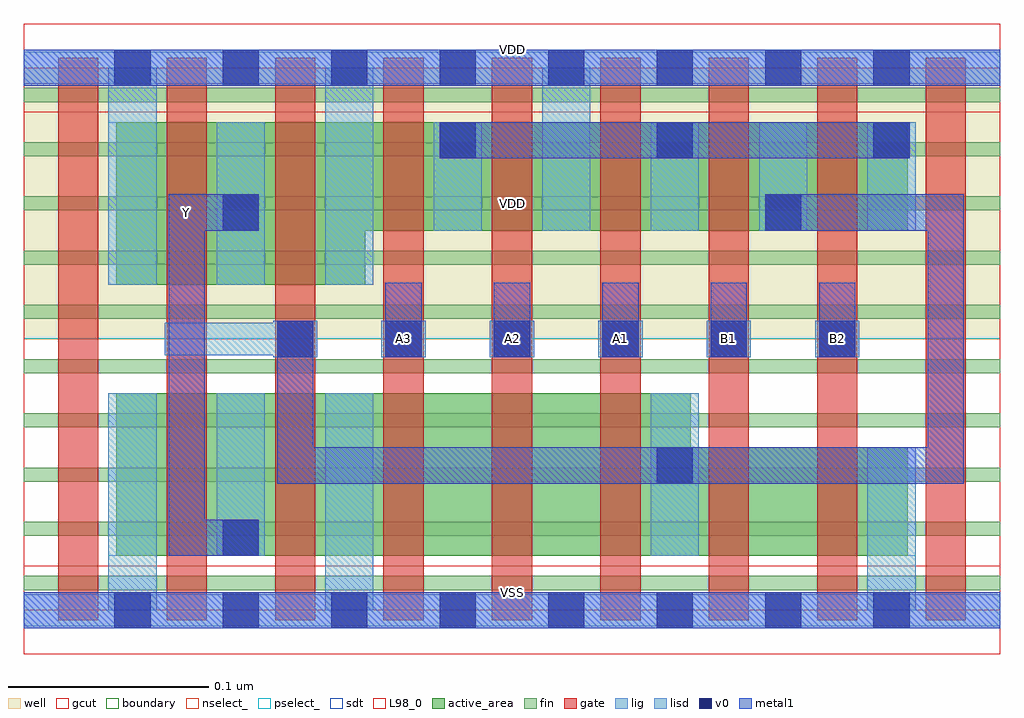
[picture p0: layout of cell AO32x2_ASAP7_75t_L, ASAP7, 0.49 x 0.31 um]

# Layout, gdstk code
import gdstk
lib = gdstk.Library(unit=1e-6, precision=2.5e-10)
def R(c, l, rs):  # rectangles x0, y0, x1, y1
    for r in rs: c.add(gdstk.rectangle(r[:2], r[2:], *l))
def A(c, l, x, y, w, h, nx, ny, dx, dy):  # array of equal rectangles
    R(c, l, [(x+i*dx, y+j*dy, x+i*dx+w, y+j*dy+h) for i in range(nx) for j in range(ny)])
def P(c, l, *ps):  # polygons
    for p in ps: c.add(gdstk.Polygon(p, *l))
well = (1, 0)
fin = (2, 0)
gate = (7, 0)
gcut = (10, 0)
active_area = (11, 0)
nselect_ = (12, 0)
pselect_ = (13, 0)
lig = (16, 0)
lisd = (17, 0)
v0 = (18, 0)
metal1 = (19, 0)
sdt = (88, 0)
L98_0 = (98, 0)
boundary = (100, 0)

ao32x2_asap7_75t_l = lib.new_cell('AO32x2_ASAP7_75t_L')
R(ao32x2_asap7_75t_l, well, [(0,0.135,0.486,0.27)])
A(ao32x2_asap7_75t_l, fin, 0, 0.01, 0.486, 0.007, 1, 10, 0, 0.027)
A(ao32x2_asap7_75t_l, gate, 0.017, -0.005, 0.02, 0.28, 9, 1, 0.054, 0)
R(ao32x2_asap7_75t_l, gcut, [(0,-0.022,0.486,0.022), (0,0.248,0.486,0.292)])
P(ao32x2_asap7_75t_l, active_area, [(0.332,0.108),(0.046,0.108),(0.046,0.027),(0.44,0.027),(0.44,0.081),(0.332,0.081)],
  [(0.44,0.243),(0.046,0.243),(0.046,0.162),(0.17,0.162),(0.17,0.189),(0.44,0.189)])
R(ao32x2_asap7_75t_l, nselect_, [(0,0,0.486,0.135)])
R(ao32x2_asap7_75t_l, pselect_, [(0,0.135,0.486,0.27)])
A(ao32x2_asap7_75t_l, lig, 0.124, 0.126, 0.022, 0.018, 6, 1, 0.054, 0)
R(ao32x2_asap7_75t_l, lig, [(0,-0.008,0.486,0.008), (0.07,0.127,0.146,0.143), (0,0.262,0.486,0.278)])
A(ao32x2_asap7_75t_l, lisd, 0.312, 0.189, 0.024, 0.054, 3, 1, 0.054, 0)
R(ao32x2_asap7_75t_l, lisd, [(0.042,0,0.066,0.108), (0.042,0,0.066,0.108), (0.15,0,0.174,0.108), (0.15,0,0.174,0.108), (0.42,0,0.444,0.081), (0.42,0,0.444,0.081), (0.096,0.027,0.12,0.108), (0.312,0.027,0.336,0.108), (0.042,0.162,0.066,0.27), (0.042,0.162,0.066,0.27), (0.096,0.162,0.12,0.243), (0.15,0.162,0.174,0.27), (0.15,0.162,0.174,0.27), (0.204,0.189,0.228,0.243), (0.258,0.189,0.282,0.27), (0.258,0.189,0.282,0.27)])
A(ao32x2_asap7_75t_l, v0, 0.045, -0.009, 0.018, 0.018, 8, 2, 0.054, 0.27)
A(ao32x2_asap7_75t_l, v0, 0.126, 0.126, 0.018, 0.018, 6, 1, 0.054, 0)
A(ao32x2_asap7_75t_l, v0, 0.207, 0.225, 0.018, 0.018, 3, 1, 0.108, 0)
R(ao32x2_asap7_75t_l, v0, [(0.099,0.027,0.117,0.045), (0.315,0.063,0.333,0.081), (0.099,0.189,0.117,0.207), (0.369,0.189,0.387,0.207)])
A(ao32x2_asap7_75t_l, metal1, 0.126, 0.126, 0.018, 0.018, 6, 1, 0.054, 0)
A(ao32x2_asap7_75t_l, metal1, 0.18, 0.126, 0.018, 0.037, 5, 1, 0.054, 0)
A(ao32x2_asap7_75t_l, metal1, 0.207, 0.225, 0.018, 0.018, 3, 1, 0.108, 0)
R(ao32x2_asap7_75t_l, metal1, [(0,-0.009,0.486,0.009), (0.099,0.027,0.117,0.045), (0.315,0.063,0.333,0.081), (0.099,0.189,0.117,0.207), (0.369,0.189,0.387,0.207), (0.207,0.225,0.441,0.243), (0,0.261,0.486,0.279)])
P(ao32x2_asap7_75t_l, metal1, [(0.369,0.207),(0.369,0.189),(0.45,0.189),(0.45,0.081),(0.144,0.081),(0.144,0.144),(0.126,0.144),(0.126,0.063),(0.468,0.063),(0.468,0.207)],
  [(0.117,0.045),(0.09,0.045),(0.09,0.189),(0.117,0.189),(0.117,0.207),(0.072,0.207),(0.072,0.027),(0.117,0.027)])
A(ao32x2_asap7_75t_l, sdt, 0.042, 0.027, 0.024, 0.081, 3, 2, 0.054, 0.135)
A(ao32x2_asap7_75t_l, sdt, 0.258, 0.189, 0.024, 0.054, 4, 1, 0.054, 0)
R(ao32x2_asap7_75t_l, sdt, [(0.042,0.027,0.066,0.108), (0.15,0.027,0.174,0.108), (0.312,0.027,0.336,0.108), (0.42,0.027,0.444,0.081), (0.42,0.027,0.444,0.081), (0.042,0.162,0.066,0.243), (0.15,0.162,0.174,0.243), (0.204,0.189,0.228,0.243), (0.258,0.189,0.282,0.243)])
R(ao32x2_asap7_75t_l, L98_0, [(0,0,0.486,0.27)])
R(ao32x2_asap7_75t_l, boundary, [(0,0,0.486,0.27)])
ao32x2_asap7_75t_l.add(gdstk.Label('VDD', (0.243,0.2025), layer=1, texttype=251))
ao32x2_asap7_75t_l.add(gdstk.Label('VSS', (0.243,-0.0675), layer=3, texttype=251))
ao32x2_asap7_75t_l.add(gdstk.Label('VSS', (0.243,0.009), layer=19, texttype=251))
ao32x2_asap7_75t_l.add(gdstk.Label('VDD', (0.243,0.279), layer=19, texttype=251))
ao32x2_asap7_75t_l.add(gdstk.Label('Y', (0.081,0.198), layer=19, texttype=251))
ao32x2_asap7_75t_l.add(gdstk.Label('A3', (0.189,0.135), layer=19, texttype=251))
ao32x2_asap7_75t_l.add(gdstk.Label('A2', (0.243,0.135), layer=19, texttype=251))
ao32x2_asap7_75t_l.add(gdstk.Label('A1', (0.297,0.135), layer=19, texttype=251))
ao32x2_asap7_75t_l.add(gdstk.Label('B1', (0.351,0.135), layer=19, texttype=251))
ao32x2_asap7_75t_l.add(gdstk.Label('B2', (0.405,0.135), layer=19, texttype=251))

lib.write_gds('AO32x2_ASAP7_75t_L.gds')
